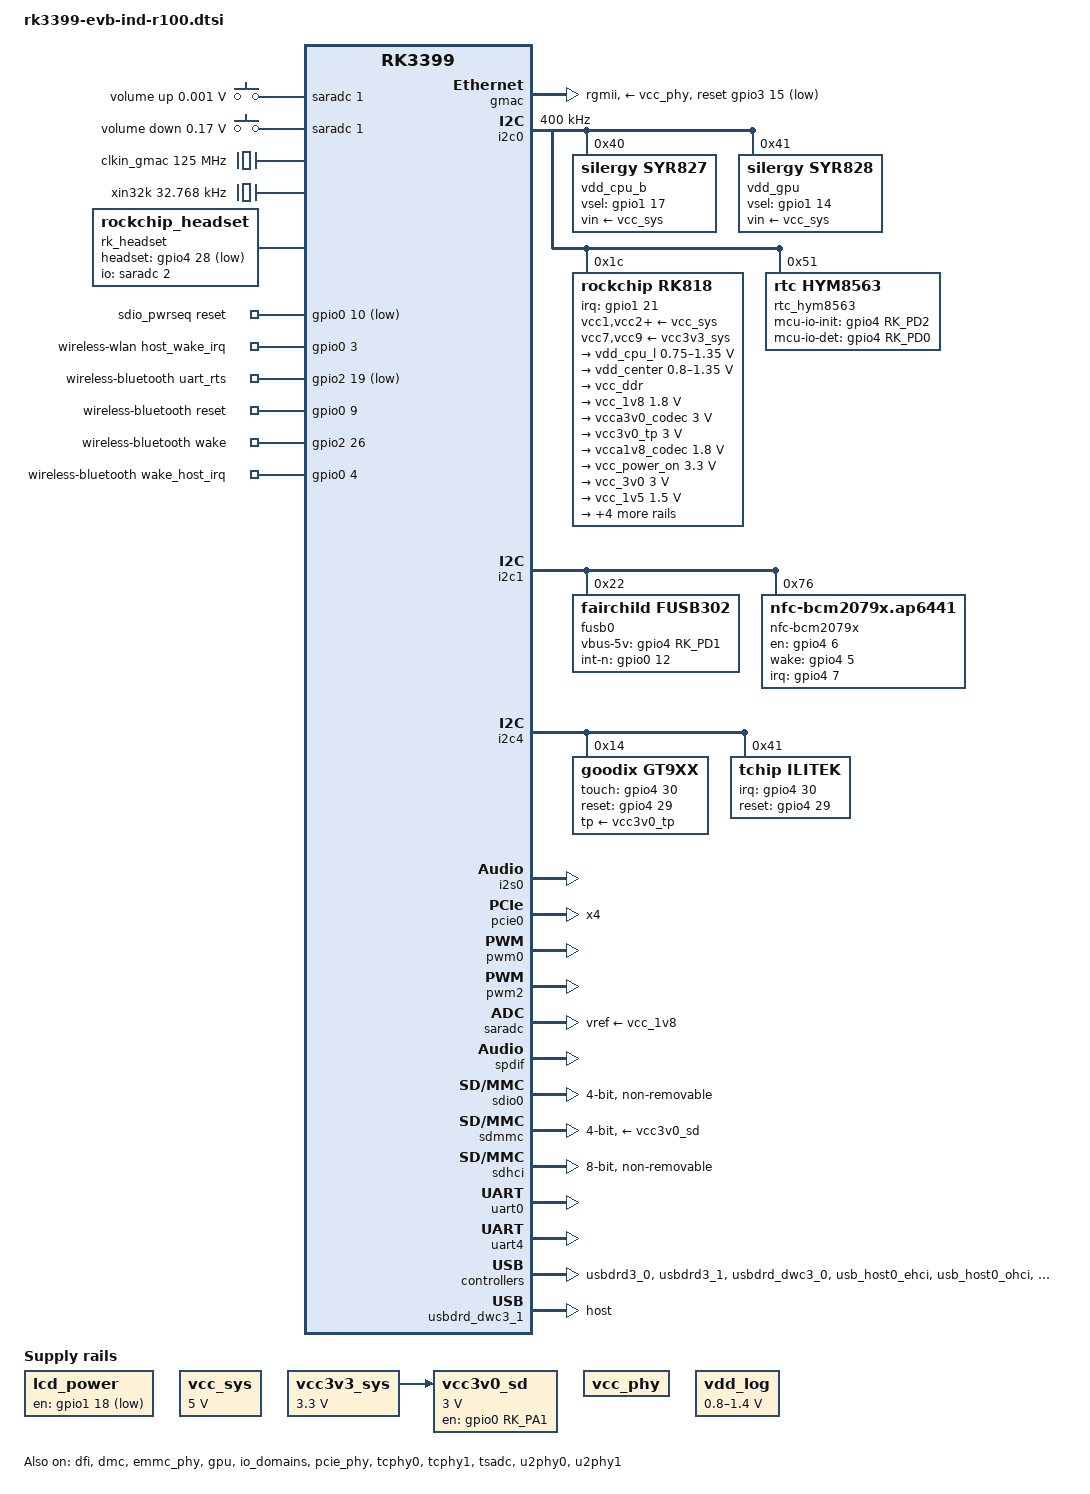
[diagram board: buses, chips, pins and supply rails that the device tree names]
// SPDX-License-Identifier: (GPL-2.0+ OR MIT)
/*
 * Copyright (c) 2019 Fuzhou Rockchip Electronics Co., Ltd
 */

#include "dt-bindings/pwm/pwm.h"
#include "rk3399.dtsi"
#include "rk3399-opp.dtsi"
#include <dt-bindings/sensor-dev.h>
#include "rk3399-vop-clk-set.dtsi"
#include <dt-bindings/input/input.h>

/ {
	compatible = "rockchip,rk3399-evb-ind", "rockchip,rk3399";

	adc_keys {
		compatible = "adc-keys";
		io-channels = <&saradc 1>;
		io-channel-names = "buttons";
		keyup-threshold-microvolt = <1800000>;
		poll-interval = <100>;

		vol-up-key {
			label = "volume up";
			linux,code = <KEY_VOLUMEUP>;
			press-threshold-microvolt = <1000>;
		};

		vol-down-key {
			label = "volume down";
			linux,code = <KEY_VOLUMEDOWN>;
			press-threshold-microvolt = <170000>;
		};
	};

	clkin_gmac: external-gmac-clock {
		compatible = "fixed-clock";
		clock-frequency = <125000000>;
		clock-output-names = "clkin_gmac";
		#clock-cells = <0>;
	};
	xin32k: xin32k {
		compatible = "fixed-clock";
		clock-frequency = <32768>;
		clock-output-names = "xin32k";
		#clock-cells = <0>;
	};
/*
	dw_hdmi_audio: dw-hdmi-audio {
		status = "disabled";
		compatible = "rockchip,dw-hdmi-audio";
		#sound-dai-cells = <0>;
	};


	dp_sound: dp-sound {
		status = "disabled";
		compatible = "rockchip,cdndp-sound";
		rockchip,cpu = <&spdif>;
		rockchip,codec = <&cdn_dp 1>;
	};

	hdmi_sound: hdmi-sound {
		status = "disabled";
		compatible = "simple-audio-card";
		simple-audio-card,format = "i2s";
		simple-audio-card,mclk-fs = <256>;
		simple-audio-card,name = "rockchip,hdmi";

		simple-audio-card,cpu {
			sound-dai = <&i2s2>;
		};
		simple-audio-card,codec {
			sound-dai = <&hdmi>;
		};
	};

	

	spdif_sound: spdif-sound {
		status = "disabled";
		compatible = "simple-audio-card";
		simple-audio-card,name = "ROCKCHIP,SPDIF";
		simple-audio-card,cpu {
			sound-dai = <&spdif>;
		};
		simple-audio-card,codec {
			sound-dai = <&spdif_out>;
		};
	};*/

	es8316_sound: es8316-sound {
		compatible = "simple-audio-card";
		simple-audio-card,format = "i2s";
		simple-audio-card,name = "rockchip,es8316-codec";
		simple-audio-card,mclk-fs = <256>;
		simple-audio-card,widgets =
			"Microphone", "Mic Jack",
			"Headphone", "Headphone Jack";
		simple-audio-card,routing =
			"Mic Jack", "MICBIAS1",
			"IN1P", "Mic Jack",
			"Headphone Jack", "HPOL",
			"Headphone Jack", "HPOR";
		simple-audio-card,cpu {
			sound-dai = <&i2s0>;
			system-clock-frequency = <11289600>;
		};
		simple-audio-card,codec {
			sound-dai = <&es8316>;
			system-clock-frequency = <11289600>;
		};
	};

	//add by pirlo for hp detect 
	rk_headset: rk-headset {
			compatible = "rockchip_headset";
			headset_gpio = <&gpio4 28 GPIO_ACTIVE_LOW>;
			pinctrl-names = "default";
			pinctrl-0 = <&hp_det>;
			io-channels = <&saradc 2>;
	};       
	
/*
	spdif_out: spdif-out {
		status = "okay";
		compatible = "linux,spdif-dit";
		#sound-dai-cells = <0>;
	};*/
   
	sdio_pwrseq: sdio-pwrseq {
		compatible = "mmc-pwrseq-simple";
		clocks = <&rk818 1>;
		clock-names = "ext_clock";
		pinctrl-names = "default";
		pinctrl-0 = <&wifi_enable_h>;

		/*
		 * On the module itself this is one of these (depending
		 * on the actual card populated):
		 * - SDIO_RESET_L_WL_REG_ON
		 * - PDN (power down when low)
		 */
		reset-gpios = <&gpio0 10 GPIO_ACTIVE_LOW>; /* GPIO0_B2 */
	};

	wireless-wlan {
		compatible = "wlan-platdata";
		rockchip,grf = <&grf>;
		wifi_chip_type = "rtl8821cs";
		sdio_vref = <3300>;
		WIFI,host_wake_irq = <&gpio0 3 GPIO_ACTIVE_HIGH>; /* GPIO0_a3 */
		status = "okay";
	};

	wireless-bluetooth {
		compatible = "bluetooth-platdata";
		clocks = <&rk818 1>;
		clock-names = "ext_clock";
		//wifi-bt-power-toggle;
		uart_rts_gpios = <&gpio2 19 GPIO_ACTIVE_LOW>; /* GPIO2_C3 */
		pinctrl-names = "default", "rts_gpio";
		pinctrl-0 = <&uart0_rts>, <&bt_reset_gpio>, <&bt_wake_gpio>, <&bt_irq_gpio>;
		pinctrl-1 = <&uart0_gpios>;
		//BT,power_gpio  = <&gpio3 19 GPIO_ACTIVE_HIGH>; /* GPIOx_xx */
		BT,reset_gpio    = <&gpio0 9 GPIO_ACTIVE_HIGH>; /* GPIO0_B1 */
		BT,wake_gpio     = <&gpio2 26 GPIO_ACTIVE_HIGH>; /* GPIO2_D2 */
		BT,wake_host_irq = <&gpio0 4 GPIO_ACTIVE_HIGH>; /* GPIO0_A4 */
		status = "okay";
	};

	/*rk_modem: rk-modem {
		compatible="4g-modem-platdata";
		pinctrl-names = "default";
		pinctrl-0 = <&lte_vbat &lte_power_en &lte_reset>;
		4G,vbat-gpio = <&gpio4 RK_PD0 GPIO_ACTIVE_HIGH>;
		4G,power-gpio = <&gpio4 RK_PC6 GPIO_ACTIVE_LOW>;
		4G,reset-gpio = <&gpio4 RK_PD4 GPIO_ACTIVE_LOW>;
		status = "disabled";
	};*/


	/*vcc_otg_vbus: otg-vbus-regulator { 	
		compatible = "regulator-fixed"; 
		gpio = <&gpio4 RK_PD1 GPIO_ACTIVE_HIGH>;
		pinctrl-names = "default"; 
		pinctrl-0 = <&otg_vbus_drv>; 
		regulator-name = "vcc_otg_vbus"; 
		regulator-min-microvolt = <5000000>; 
		regulator-max-microvolt = <5000000>; 
		enable-active-high; 
	};*/

	lcd_power: lcd-power-regulator {
		compatible = "regulator-fixed";
		enable-active-low;
		gpio = <&gpio1 18 GPIO_ACTIVE_LOW>;
		pinctrl-names = "default";
		pinctrl-0 = <&lcd_power_drv>;
		regulator-name = "lcd_power";
		regulator-always-on;
		regulator-boot-on;		
	};

		
	vcc_sys: vcc-sys {
		compatible = "regulator-fixed";
		enable-active-high;
		//gpio = <&gpio1 18 GPIO_ACTIVE_HIGH>;
		regulator-name = "vcc_sys";
		regulator-always-on;
		regulator-boot-on;
		regulator-min-microvolt = <5000000>;
		regulator-max-microvolt = <5000000>;
	};

	vcc3v3_sys: vcc3v3-sys {
		compatible = "regulator-fixed";
		regulator-name = "vcc3v3_sys";
		regulator-always-on;
		regulator-boot-on;
		regulator-min-microvolt = <3300000>;
		regulator-max-microvolt = <3300000>;
	};

	vcc3v0_sd: vcc3v0-sd {
		compatible = "regulator-fixed";
		enable-active-high;
		gpio = <&gpio0 RK_PA1 GPIO_ACTIVE_HIGH>;
		pinctrl-names = "default";
		pinctrl-0 = <&sdmmc0_pwr_h>;
		regulator-always-on;
		regulator-max-microvolt = <3000000>;
		regulator-min-microvolt = <3000000>;
		regulator-name = "vcc3v0_sd";
		vin-supply = <&vcc3v3_sys>;
	};
	
	vcc_phy: vcc-phy-regulator {
		compatible = "regulator-fixed";
		regulator-name = "vcc_phy";
		regulator-always-on;
		regulator-boot-on;
	};

	vdd_log: vdd-log {
		compatible = "pwm-regulator";
		regulator-name = "vdd_log";
		regulator-min-microvolt = <800000>;
		regulator-max-microvolt = <1400000>;
		regulator-always-on;
		regulator-boot-on;
		rockchip,pwm_id= <2>;
		rockchip,pwm_voltage = <950000>;//900000//rocky
	};
};

&cpu_l0 {
	cpu-supply = <&vdd_cpu_l>;
};

&cpu_l1 {
	cpu-supply = <&vdd_cpu_l>;
};

&cpu_l2 {
	cpu-supply = <&vdd_cpu_l>;
};

&cpu_l3 {
	cpu-supply = <&vdd_cpu_l>;
};

&cpu_b0 {
	cpu-supply = <&vdd_cpu_b>;
};

&cpu_b1 {
	cpu-supply = <&vdd_cpu_b>;
};
/*
&cdn_dp {
	status = "okay";
	extcon = <&fusb0>;
	phys = <&tcphy0_dp>;
};
*/
&dp_in_vopb {
	status = "disabled";
};

&dfi {
	status = "okay";
};

&dmc {
	status = "okay";
	center-supply = <&vdd_center>;
	upthreshold = <40>;
	downdifferential = <20>;
	system-status-freq = <
		/*system status         freq(KHz)*/
		SYS_STATUS_NORMAL       856000
		SYS_STATUS_REBOOT       856000
		SYS_STATUS_SUSPEND      328000
		SYS_STATUS_VIDEO_1080P  666000
		SYS_STATUS_VIDEO_4K     856000
		SYS_STATUS_VIDEO_4K_10B 856000
		SYS_STATUS_PERFORMANCE  856000
		SYS_STATUS_BOOST        856000
		SYS_STATUS_DUALVIEW     856000
		SYS_STATUS_ISP          856000
	>;
	vop-bw-dmc-freq = <
	/* min_bw(MB/s) max_bw(MB/s) freq(KHz) */
		0       762      416000
		763     3012     666000
		3013    99999    856000
	>;

	vop-pn-msch-readlatency = <
		0	0x20
		4	0x20
	>;

	auto-min-freq = <328000>;
	auto-freq-en = <0>;
};

&dmc_opp_table {
		compatible = "operating-points-v2";

		opp-200000000 {
			opp-hz = /bits/ 64 <200000000>;
			opp-microvolt = <900000>;
			status = "disabled";
		};
		opp-300000000 {
			opp-hz = /bits/ 64 <300000000>;
			opp-microvolt = <900000>;
			status = "disabled";
		};
		opp-328000000 {
			opp-hz = /bits/ 64 <328000000>;
			opp-microvolt = <900000>;
		};
		opp-400000000 {
			opp-hz = /bits/ 64 <400000000>;
			opp-microvolt = <900000>;
			status = "disabled";
		};
		opp-416000000 {
			opp-hz = /bits/ 64 <416000000>;
			opp-microvolt = <900000>;
		};
		opp-528000000 {
			opp-hz = /bits/ 64 <528000000>;
			opp-microvolt = <900000>;
			status = "disabled";
		};
		opp-600000000 {
			opp-hz = /bits/ 64 <600000000>;
			opp-microvolt = <900000>;
			status = "disabled";
		};
		opp-666000000 {
			opp-hz = /bits/ 64 <666000000>;
			opp-microvolt = <900000>;
		};
		opp-800000000 {
			opp-hz = /bits/ 64 <800000000>;
			opp-microvolt = <900000>;
			status = "disabled";
		};
		opp-856000000 {
			opp-hz = /bits/ 64 <856000000>;
			opp-microvolt = <900000>;
		};
		opp-928000000 {
			opp-hz = /bits/ 64 <928000000>;
			opp-microvolt = <900000>;
			status = "disabled";
		};
};

&emmc_phy {
	status = "okay";
};

&gmac {
	phy-supply = <&vcc_phy>;
	phy-mode = "rgmii";
	clock_in_out = "output";
	snps,reset-gpio = <&gpio3 15 GPIO_ACTIVE_LOW>;
	snps,reset-active-low;
	snps,reset-delays-us = <0 10000 150000>;
	assigned-clocks = <&cru SCLK_RMII_SRC>;
	assigned-clock-parents = <&clkin_gmac>;
	pinctrl-names = "default";
	pinctrl-0 = <&rgmii_pins>;
	tx_delay = <0x28>;
	rx_delay = <0x11>;
	status = "okay";
};

&gpu {
	status = "okay";
	mali-supply = <&vdd_gpu>;
};

&hdmi {
	status = "disabled";
};

&i2c0 {
	status = "okay";
	i2c-scl-rising-time-ns = <168>;
	i2c-scl-falling-time-ns = <4>;
	clock-frequency = <400000>;



	vdd_cpu_b: syr837@40 {
		compatible = "silergy,syr827";
		reg = <0x40>;
		vin-supply = <&vcc_sys>;
		regulator-compatible = "fan53555-reg";
		pinctrl-0 = <&vsel1_gpio>;
		vsel-gpios = <&gpio1 17 GPIO_ACTIVE_HIGH>;
		regulator-name = "vdd_cpu_b";
		regulator-min-microvolt = <712500>;
		regulator-max-microvolt = <1500000>;
		regulator-ramp-delay = <16001>;
		fcs,suspend-voltage-selector = <1>;
		regulator-always-on;
		regulator-initial-state = <3>;
		regulator-state-mem {
		    //modify by pirlo for slove reboot crash
			regulator-on-in-suspend;
		};
	};

	
	vdd_gpu: syr828@41 {
		compatible = "silergy,syr828";
		status = "okay";
		reg = <0x41>;
		vin-supply = <&vcc_sys>;
		regulator-compatible = "fan53555-reg";
		pinctrl-0 = <&vsel2_gpio>;
		vsel-gpios = <&gpio1 14 GPIO_ACTIVE_HIGH>;
		regulator-name = "vdd_gpu";
		regulator-min-microvolt = <735000>;
		regulator-max-microvolt = <1400000>;
		regulator-ramp-delay = <16001>;
		fcs,suspend-voltage-selector = <1>;
		regulator-always-on;
		regulator-boot-on;
		regulator-state-mem {
			//modify by pirlo for slove reboot crash
			regulator-on-in-suspend;
		};
	};

	

	rk818: pmic@1c {
		compatible = "rockchip,rk818";
		status = "okay";
		reg = <0x1c>;
		clock-output-names = "rk818-clkout1", "wifibt_32kin";
		interrupt-parent = <&gpio1>;
		interrupts = <21 IRQ_TYPE_LEVEL_LOW>;
		pinctrl-names = "default";
		pinctrl-0 = <&pmic_int_l>;
		rockchip,system-power-controller;
		rk818,support_dc_chg = <1>;/*1: dc chg; 0:usb chg*/
		wakeup-source;		
		//extcon = <&u2phy0>;
		#clock-cells = <1>;

		vcc1-supply = <&vcc_sys>;
		vcc2-supply = <&vcc_sys>;
		vcc3-supply = <&vcc_sys>;
		vcc4-supply = <&vcc_sys>;
		vcc6-supply = <&vcc_sys>;
		vcc7-supply = <&vcc3v3_sys>;
		vcc8-supply = <&vcc_sys>;
		vcc9-supply = <&vcc3v3_sys>;

		regulators {
			vdd_cpu_l: DCDC_REG1 {
				regulator-name = "vdd_cpu_l";
				regulator-always-on;
				regulator-boot-on;
				regulator-min-microvolt = <750000>;
				regulator-max-microvolt = <1350000>;
				regulator-ramp-delay = <6001>;
				regulator-state-mem {
					regulator-off-in-suspend;
				};
			};

			vdd_center: DCDC_REG2 {
				regulator-name = "vdd_center";
				regulator-always-on;
				regulator-boot-on;
				regulator-min-microvolt = <800000>;
				regulator-max-microvolt = <1350000>;
				regulator-ramp-delay = <6001>;
				regulator-state-mem {
					regulator-off-in-suspend;
				};
			};

			vcc_ddr: DCDC_REG3 {
				regulator-name = "vcc_ddr";
				regulator-always-on;
				regulator-boot-on;
				regulator-state-mem {
					regulator-on-in-suspend;
				};
			};

			vcc_1v8: DCDC_REG4 {
				regulator-name = "vcc_1v8";
				regulator-always-on;
				regulator-boot-on;
				regulator-min-microvolt = <1800000>;
				regulator-max-microvolt = <1800000>;
				regulator-state-mem {
					regulator-on-in-suspend;
					regulator-suspend-microvolt = <1800000>;
				};
			};

			vcca3v0_codec: LDO_REG1 {
				regulator-always-on;
				regulator-boot-on;
				regulator-min-microvolt = <3000000>;
				regulator-max-microvolt = <3000000>;
				regulator-name = "vcca3v0_codec";
				regulator-state-mem {
					regulator-off-in-suspend;
				};
			};

			vcc3v0_tp: LDO_REG2 {
				regulator-always-on;
				regulator-boot-on;
				regulator-min-microvolt = <3000000>;
				regulator-max-microvolt = <3000000>;
				regulator-name = "vcc3v0_tp";
				regulator-state-mem {
					regulator-off-in-suspend;
				};
			};

			vcca1v8_codec: LDO_REG3 {
				regulator-always-on;
				regulator-boot-on;
				regulator-min-microvolt = <1800000>;
				regulator-max-microvolt = <1800000>;
				regulator-name = "vcca1v8_codec";
				regulator-state-mem {
					regulator-off-in-suspend;
				};
			};

			vcc_power_on: LDO_REG4 {
				regulator-always-on;
				regulator-boot-on;
				regulator-min-microvolt = <3300000>;
				regulator-max-microvolt = <3300000>;
				regulator-name = "vcc_power_on";
				regulator-state-mem {
					regulator-on-in-suspend;
					regulator-suspend-microvolt = <3300000>;
				};
			};

			vcc_3v0: LDO_REG5 {
				regulator-always-on;
				regulator-boot-on;
				regulator-min-microvolt = <3000000>;
				regulator-max-microvolt = <3000000>;
				regulator-name = "vcc_3v0";
				regulator-state-mem {
					regulator-on-in-suspend;
					regulator-suspend-microvolt = <3000000>;
				};
			};

			vcc_1v5: LDO_REG6 {
				regulator-always-on;
				regulator-boot-on;
				regulator-min-microvolt = <1500000>;
				regulator-max-microvolt = <1500000>;
				regulator-name = "vcc_1v5";
				regulator-state-mem {
					regulator-on-in-suspend;
					regulator-suspend-microvolt = <1500000>;
				};
			};

			vcc1v8_dvp: LDO_REG7 {
				regulator-always-on;
				regulator-boot-on;
				regulator-min-microvolt = <1800000>;
				regulator-max-microvolt = <1800000>;
				regulator-name = "vcc1v8_dvp";
				regulator-state-mem {
					regulator-off-in-suspend;
				};
			};

			vcc3v3_s3: LDO_REG8 {
				regulator-always-on;
				regulator-boot-on;
				regulator-min-microvolt = <3300000>;
				regulator-max-microvolt = <3300000>;
				regulator-name = "vcc3v3_s3";
				regulator-state-mem {
					regulator-off-in-suspend;
				};
			};

			vccio_sd: LDO_REG9 {
				regulator-always-on;
				regulator-boot-on;
				regulator-min-microvolt = <1800000>;
				regulator-max-microvolt = <3000000>;
				regulator-name = "vccio_sd";
				regulator-state-mem {
					regulator-on-in-suspend;
					regulator-suspend-microvolt = <3000000>;
				};
			};

			vcc3v3_s0: SWITCH_REG {
				regulator-always-on;
				regulator-boot-on;
				regulator-name = "vcc3v3_s0";
				regulator-state-mem {
					regulator-on-in-suspend;
				};
			};

			/*boost_otg: DCDC_BOOST {
				regulator-name = "boost_otg";
				regulator-always-on;
				regulator-boot-on;
				regulator-min-microvolt = <5000000>;
				regulator-max-microvolt = <5000000>;
				regulator-state-mem {
					regulator-on-in-suspend;
					regulator-suspend-microvolt = <5000000>;
				};
			};

			otg_switch: OTG_SWITCH {
				regulator-name = "otg_switch";
			};*/
		};
	};

	//modify by pirlo  for rtc
	rtc_hym8563: rtc_hym8563@51 {
		compatible = "rtc,hym8563";
		reg = <0x51>;
		mcu-io-init = <&gpio4 RK_PD2 GPIO_ACTIVE_HIGH>;	
		mcu-io-det = <&gpio4 RK_PD0 GPIO_ACTIVE_HIGH>;	
	};
};

&i2c1 {
	status = "okay";
	i2c-scl-rising-time-ns = <140>;
	i2c-scl-falling-time-ns = <30>;
	
	fusb0: fusb30x@22 {
		compatible = "fairchild,fusb302";
		reg = <0x22>;
		pinctrl-names = "default";
		pinctrl-0 = <&fusb0_int>;
		vbus-5v-gpios = <&gpio4 RK_PD1 GPIO_ACTIVE_HIGH>;
		int-n-gpios = <&gpio0 12 GPIO_ACTIVE_HIGH>;
		status = "okay";
        };

	nfc-bcm2079x@76 {
		compatible = "nfc-bcm2079x.ap6441";
		reg = <0x76>;
		//pw_gpio = <&gpio4 4 GPIO_ACTIVE_HIGH>;       ////gpio4_a4
		en_gpio = <&gpio4 6 GPIO_ACTIVE_HIGH>;       ////gpio4_a6
		wake_gpio = <&gpio4 5 GPIO_ACTIVE_HIGH>;     ////gpio4_a5
		irq_gpio = <&gpio4 7 IRQ_TYPE_EDGE_RISING>;  ////gpio4_a7
		status = "okay";
	};
	
};

&i2c4 {
	status = "okay";
	i2c-scl-rising-time-ns = <475>;
	i2c-scl-falling-time-ns = <26>;
    
	gt9xx: gt9xx@14 {
	    compatible = "goodix,gt9xx";
	    reg = <0x14>;
	    touch-gpio = <&gpio4 30 IRQ_TYPE_LEVEL_LOW>;
	    reset-gpio = <&gpio4 29 GPIO_ACTIVE_HIGH>;
	    max-x = <800>;
	    max-y = <1280>;
	    tp-size = <913>;
	    tp-supply = <&vcc3v0_tp>;
	};


	ilitek@41 {
	    status = "okay";
	    compatible = "tchip,ilitek";
	    reg = <0x41>;
	    ilitek,irq-gpio = <&gpio4 30 IRQ_TYPE_LEVEL_LOW>;
	    ilitek,reset-gpio = <&gpio4 29 GPIO_ACTIVE_HIGH>;
	};	
};

&i2c6 {
	cw2015@62 {
		status = "disabled";
		compatible = "cw201x";
		reg = <0x62>;
		bat_config_info = <0x15 0x42 0x60 0x59 0x52 0x58 0x4D 0x48
				   0x48 0x44 0x44 0x46 0x49 0x48 0x32 0x24
				   0x20 0x17 0x13 0x0F 0x19 0x3E 0x51 0x45
				   0x08 0x76 0x0B 0x85 0x0E 0x1C 0x2E 0x3E
				   0x4D 0x52 0x52 0x57 0x3D 0x1B 0x6A 0x2D
				   0x25 0x43 0x52 0x87 0x8F 0x91 0x94 0x52
				   0x82 0x8C 0x92 0x96 0xFF 0x7B 0xBB 0xCB
				   0x2F 0x7D 0x72 0xA5 0xB5 0xC1 0x46 0xAE>;
		monitor_sec = <5>;
		virtual_power = <0>;
	};
};

&i2s0 {
	status = "okay";
	rockchip,i2s-broken-burst-len;
	rockchip,playback-channels = <8>;
	rockchip,capture-channels = <8>;
	#sound-dai-cells = <0>;
};

&i2s1 {
	#sound-dai-cells = <0>;
	status = "disabled";
};

&i2s2 {
	#sound-dai-cells = <0>;
	dmas = <&dmac_bus 4>;
	dma-names = "tx";
	status = "disabled";
};

&io_domains {
	status = "okay";

	bt656-supply = <&vcc1v8_dvp>;		/* bt656_gpio2ab_ms */
	audio-supply = <&vcc_1v8>;	/* audio_gpio3d4a_ms */
	sdmmc-supply = <&vccio_sd>;		/* sdmmc_gpio4b_ms */
	gpio1830-supply = <&vcc_3v0>;		/* gpio1833_gpio4cd_ms */
};

&isp0_mmu {
	status = "okay";
};

&isp1_mmu {
	status = "okay";
};

&pmu_io_domains {
	status = "okay";
	pmu1830-supply = <&vcc_3v0>;
};


&pcie_phy {
	status = "okay";
};

&pcie0 {
	ep-gpios = <&gpio2 RK_PA4 GPIO_ACTIVE_HIGH>;
	num-lanes = <4>;
	pinctrl-names = "default";
	pinctrl-0 = <&pcie_clkreqn_cpm>;
	status = "okay";
};

&pwm0 {
	status = "okay";
};

&pwm2 {
	status = "okay";
//	pinctrl-names = "active";
//	pinctrl-0 = <&pwm2_pin_pull_down>;
};
/*
&pwm3 {
	status = "okay";

	interrupts = <GIC_SPI 61 IRQ_TYPE_LEVEL_HIGH 0>;
	compatible = "rockchip,remotectl-pwm";
	remote_pwm_id = <3>;
	handle_cpu_id = <1>;
	remote_support_psci = <4>;
	pinctrl-names = "default";

	ir_key1 {
		rockchip,usercode = <0x4040>;
		rockchip,key_table =
			<0xf2	KEY_REPLY>,
			<0xba	KEY_BACK>,
			<0xf4	KEY_UP>,
			<0xf1	KEY_DOWN>,
			<0xef	KEY_LEFT>,
			<0xee	KEY_RIGHT>,
			<0xbd	KEY_HOME>,
			<0xea	KEY_VOLUMEUP>,
			<0xe3	KEY_VOLUMEDOWN>,
			<0xe2	KEY_SEARCH>,
			<0xb2	KEY_POWER>,
			<0xbc	KEY_MUTE>,
			<0xec	KEY_MENU>,
			<0xbf	0x190>,
			<0xe0	0x191>,
			<0xe1	0x192>,
			<0xe9	183>,
			<0xe6	248>,
			<0xe8	185>,
			<0xe7	186>,
			<0xf0	388>,
			<0xbe	0x175>;
	};

	ir_key2 {
		rockchip,usercode = <0xff00>;
		rockchip,key_table =
			<0xf9	KEY_HOME>,
			<0xbf	KEY_BACK>,
			<0xfb	KEY_MENU>,
			<0xaa	KEY_REPLY>,
			<0xb9	KEY_UP>,
			<0xe9	KEY_DOWN>,
			<0xb8	KEY_LEFT>,
			<0xea	KEY_RIGHT>,
			<0xeb	KEY_VOLUMEDOWN>,
			<0xef	KEY_VOLUMEUP>,
			<0xf7	KEY_MUTE>,
			<0xe7	KEY_POWER>,
			<0xfc	KEY_POWER>,
			<0xa9	KEY_VOLUMEDOWN>,
			<0xa8	KEY_VOLUMEDOWN>,
			<0xe0	KEY_VOLUMEDOWN>,
			<0xa5	KEY_VOLUMEDOWN>,
			<0xab	183>,
			<0xb7	388>,
			<0xe8	388>,
			<0xf8	184>,
			<0xaf	185>,
			<0xed	KEY_VOLUMEDOWN>,
			<0xee	186>,
			<0xb3	KEY_VOLUMEDOWN>,
			<0xf1	KEY_VOLUMEDOWN>,
			<0xf2	KEY_VOLUMEDOWN>,
			<0xf3	KEY_SEARCH>,
			<0xb4	KEY_VOLUMEDOWN>,
			<0xbe	KEY_SEARCH>;
	};

	ir_key3 {
		rockchip,usercode = <0x1dcc>;
		rockchip,key_table =
			<0xee	KEY_REPLY>,
			<0xf0	KEY_BACK>,
			<0xf8	KEY_UP>,
			<0xbb	KEY_DOWN>,
			<0xef	KEY_LEFT>,
			<0xed	KEY_RIGHT>,
			<0xfc	KEY_HOME>,
			<0xf1	KEY_VOLUMEUP>,
			<0xfd	KEY_VOLUMEDOWN>,
			<0xb7	KEY_SEARCH>,
			<0xff	KEY_POWER>,
			<0xf3	KEY_MUTE>,
			<0xbf	KEY_MENU>,
			<0xf9	0x191>,
			<0xf5	0x192>,
			<0xb3	388>,
			<0xbe	KEY_1>,
			<0xba	KEY_2>,
			<0xb2	KEY_3>,
			<0xbd	KEY_4>,
			<0xf9	KEY_5>,
			<0xb1	KEY_6>,
			<0xfc	KEY_7>,
			<0xf8	KEY_8>,
			<0xb0	KEY_9>,
			<0xb6	KEY_0>,
			<0xb5	KEY_BACKSPACE>;
	};
};
*/
&rockchip_suspend {
	status = "okay";
	rockchip,sleep-debug-en = <1>;
	rockchip,sleep-mode-config = <
		(0
		| RKPM_SLP_ARMPD
		| RKPM_SLP_PERILPPD
		| RKPM_SLP_DDR_RET
		| RKPM_SLP_PLLPD
		| RKPM_SLP_CENTER_PD
		| RKPM_SLP_AP_PWROFF
		)
		>;
	rockchip,wakeup-config = <
		(0
		| RKPM_GPIO_WKUP_EN
		| RKPM_PWM_WKUP_EN
		)
		>;
		rockchip,pwm-regulator-config = <
		(0
		| PWM2_REGULATOR_EN
		)
		>;
		rockchip,power-ctrl =
		<&gpio1 17 GPIO_ACTIVE_HIGH>,
		<&gpio1 14 GPIO_ACTIVE_HIGH>;
};

&saradc {
	status = "okay";
};

&spdif {
	status = "okay";
	pinctrl-0 = <&spdif_bus>;
	i2c-scl-rising-time-ns = <450>;
	i2c-scl-falling-time-ns = <15>;
	#sound-dai-cells = <0>;
};


&sdio0 {
	clock-frequency = <50000000>; // 80M for 8821cs
	//clock-frequency = <150000000>;
	clock-freq-min-max = <200000 50000000>;
	//clock-freq-min-max = <200000 150000000>;
	supports-sdio;
	bus-width = <4>;
	disable-wp;
	cap-sd-highspeed;
	cap-sdio-irq;
	keep-power-in-suspend;
	mmc-pwrseq = <&sdio_pwrseq>;
	non-removable;
	num-slots = <1>;
	pinctrl-names = "default";
	pinctrl-0 = <&sdio0_bus4 &sdio0_cmd &sdio0_clk>;
	//sd-uhs-sdr104;
	status = "okay";
};

&sdmmc {
	clock-frequency = <150000000>;
	clock-freq-min-max = <100000 150000000>;
	supports-sd;
	bus-width = <4>;
	cap-mmc-highspeed;
	cap-sd-highspeed;
	disable-wp;
	num-slots = <1>;
	sd-uhs-sdr104;
	vmmc-supply = <&vcc3v0_sd>;
	vqmmc-supply = <&vccio_sd>;
	pinctrl-names = "default";
	pinctrl-0 = <&sdmmc_clk &sdmmc_cmd &sdmmc_cd &sdmmc_bus4>;
	status = "okay";
};

&sdhci {
	bus-width = <8>;
	mmc-hs400-1_8v;
	supports-emmc;
	non-removable;
	keep-power-in-suspend;
	mmc-hs400-enhanced-strobe;
	status = "okay";
};

&saradc {
	status = "okay";
	vref-supply = <&vcc_1v8>;
};

&tcphy0 {
	extcon = <&fusb0>;
	status = "okay";
};

&tcphy1 {
	status = "okay";
};

&tsadc {
	/* tshut mode 0:CRU 1:GPIO */
	rockchip,hw-tshut-mode = <1>;
	/* tshut polarity 0:LOW 1:HIGH */
	rockchip,hw-tshut-polarity = <1>;
	status = "okay";
};

&uart0 {
	pinctrl-names = "default";
	pinctrl-0 = <&uart0_xfer &uart0_cts>;
	status = "okay";
};

&uart2 {
	status = "disabled";
};

&uart4 {
	status = "okay";
};

&u2phy0 {
	status = "okay";
	extcon = <&fusb0>;

	u2phy0_otg: otg-port {
		status = "okay";
	};

	u2phy0_host: host-port {
		//phy-supply = <&vcc5v0_usb>;
		status = "okay";
	};
};

&u2phy1 {
	status = "okay";

	u2phy1_otg: otg-port {
		status = "okay";
	};

	u2phy1_host: host-port {
		status = "okay";
	};
};

&usbdrd3_0 {
	status = "okay";
};

&usbdrd3_1 {
	status = "okay";
};

&usbdrd_dwc3_0 {
	status = "okay";
	extcon = <&fusb0>;
};

&usbdrd_dwc3_1 {
	status = "okay";
	dr_mode = "host";
};

&usb_host0_ehci {
	status = "okay";
};

&usb_host0_ohci {
	status = "okay";
};

&usb_host1_ehci {
	status = "okay";
};

&usb_host1_ohci {
	status = "okay";
};

&vopb {
	assigned-clocks = <&cru DCLK_VOP0_DIV>;
	assigned-clock-parents = <&cru PLL_CPLL>;
};

&vopl {
	assigned-clocks = <&cru DCLK_VOP1_DIV>;
	assigned-clock-parents = <&cru PLL_VPLL>;
};

&pinctrl {

	i2s0 {
		i2s0_8ch_bus: i2s0-8ch-bus {
			rockchip,pins =
				<3 RK_PD0 1 &pcfg_pull_none>,
				<3 RK_PD2 1 &pcfg_pull_none>,
				<3 RK_PD3 1 &pcfg_pull_none>,
				<3 RK_PD4 1 &pcfg_pull_none>,
				<3 RK_PD5 1 &pcfg_pull_none>,
				<3 RK_PD6 1 &pcfg_pull_none>,
				<3 RK_PD7 1 &pcfg_pull_none>;
			};

		i2s_8ch_mclk: i2s-8ch-mclk {
				rockchip,pins = <4 RK_PA0 1 &pcfg_pull_none>;
		};
	};

	i2s1 {
		i2s1_2ch_bus: i2s1-2ch-bus {
			rockchip,pins =
				<4 RK_PA3 1 &pcfg_pull_none>,
				<4 RK_PA5 1 &pcfg_pull_none>,
				<4 RK_PA6 1 &pcfg_pull_none>,
				<4 RK_PA7 1 &pcfg_pull_none>;
		};
	};
	bl_ctrl {
		bl_en: bl-en {
			rockchip,pins = <1 RK_PA2 RK_FUNC_GPIO &pcfg_pull_none>;
		};
		lcd_power_drv: lcd-power-drv {
			rockchip,pins = <1 18 RK_FUNC_GPIO &pcfg_pull_none>;
		};		
	};	
	headphone {
		hp_det: hp-det {
			rockchip,pins =
				<4 RK_PD4 RK_FUNC_GPIO &pcfg_pull_up>;
		};
	};

	fusb30x {
		fusb0_int: fusb0-int {
			rockchip,pins = <4 25 RK_FUNC_GPIO &pcfg_pull_up>,
					<0 12 RK_FUNC_GPIO &pcfg_pull_up>;
		};
	};

	pmic {
		pmic_int_l: pmic-int-l {
			rockchip,pins =
				<1 RK_PC5 RK_FUNC_GPIO &pcfg_pull_up>;
		};

		vsel1_gpio: vsel1-gpio {
			rockchip,pins =
				<1 RK_PC1 RK_FUNC_GPIO &pcfg_pull_down>;
		};

		vsel2_gpio: vsel2-gpio {
			rockchip,pins =
				<1 RK_PB6 RK_FUNC_GPIO &pcfg_pull_down>;
		};

		soc_slppin_gpio: soc-slppin-gpio {
			rockchip,pins =
				<1 RK_PA5 RK_FUNC_GPIO &pcfg_output_low>;
		};

		soc_slppin_slp: soc-slppin-slp {
			rockchip,pins =
				<1 RK_PA5 1 &pcfg_pull_none>;
		};
	};

	sdio-pwrseq {
		wifi_enable_h: wifi-enable-h {
			rockchip,pins =
				<0 RK_PB2 RK_FUNC_GPIO &pcfg_pull_none>;
		};
	};

	wireless-bluetooth {
		uart0_gpios: uart0-gpios {
			rockchip,pins =
				<2 RK_PC3 RK_FUNC_GPIO &pcfg_pull_none>;
		};

		bt_reset_gpio: bt-reset-gpio {
			rockchip,pins =
				<0 RK_PB1 RK_FUNC_GPIO &pcfg_pull_none>;
		};

		bt_wake_gpio: bt-wake-gpio {
			rockchip,pins =
				<2 RK_PD2 RK_FUNC_GPIO &pcfg_pull_none>;
		};

		bt_irq_gpio: bt-irq-gpio {
			rockchip,pins =
				<0 RK_PA4 RK_FUNC_GPIO &pcfg_pull_down>;
		};
	};

	sd {
		sdmmc0_pwr_h: sdmmc0-pwr-h {
			rockchip,pins =
				<0 RK_PA1 RK_FUNC_GPIO &pcfg_pull_up>;
		};
	};

	usbnet {
		usbnet_pwr_drv: usbnet-pwr-drv {
			rockchip,pins =
				<4 18 RK_FUNC_GPIO &pcfg_pull_none>;
		};
	};
};
